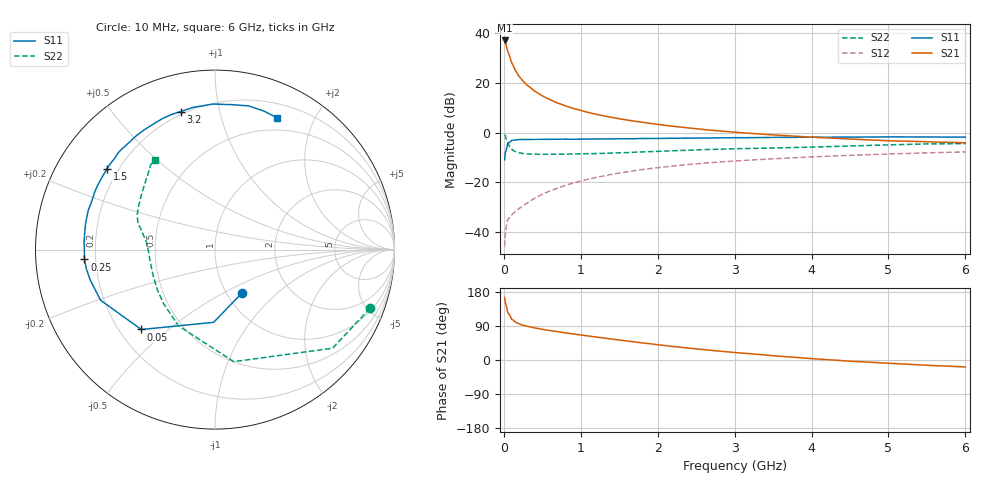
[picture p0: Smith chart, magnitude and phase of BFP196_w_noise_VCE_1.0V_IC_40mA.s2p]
! Infineon Technologies  Discrete & RF Semiconductors
! BFP196
! VCE =  1.0 V,  IC =  40 mA
! Common Emitter S-Parameters:  Jan 2017
# GHz  S  MA  R  50
!  f  S11  S21  S12  S22
! GHz  MAG  ANG  MAG  ANG  MAG  ANG  MAG  ANG
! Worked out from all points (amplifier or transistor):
!   77 points, 10 MHz to 6 GHz, reference 50 ohm
!   highest |S21| = 37.1 dB at 10 MHz (marker M1)
!   |S21| within 3 dB of that: start of sweep to 39.38 MHz
!   unconditionally stable (mu >= 1): 497.6 MHz to 2.739 GHz
!   at 130 MHz: K = 0.60, MSG = 29.4 dB, |S12| = -32.3 dB
!   at 2.2 GHz: K = 1.02, MAG = 7.2 dB, |S12| = -13.4 dB
!   at 6 GHz: K = 0.99, MSG = 1.8 dB, |S12| = -7.7 dB
!   lowest NFmin = 1.34 dB at 450 MHz
!   S11 on the Smith chart (normalised r, x): 10 MHz: 1.18, -0.62; 50 MHz: 0.29, -0.41; 250 MHz: 0.16, -0.04; 1.5 GHz: 0.16, +0.33; 3.2 GHz: 0.18, +0.76; 6 GHz: 0.35, +1.51
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0.01  0.2846 -58.0  71.55 164.7  0.0052 77.8  0.9234 -20.8
0.02  0.4054 -91.1  66.21 151.2  0.0097 70.7  0.855 -40.0
0.05  0.6057 -132.7  44.14 125.3  0.0176 48.5  0.6331 -80.5
0.1  0.697 -156.1  25.8 107.8  0.0219 48.1  0.4707 -115.7
0.15  0.7149 -166.0  17.77 100.2  0.0259 48.5  0.4153 -133.6
0.2  0.7251 -171.5  13.5 95.3  0.0298 52.3  0.3925 -144.7
0.25  0.7295 -175.7  10.85 91.7  0.034 55.3  0.3799 -151.7
0.3  0.7277 -178.7  9.074 89.1  0.0381 58.1  0.3736 -157.2
0.4  0.7308 176.6  6.853 84.6  0.0477 60.6  0.3683 -164.1
0.5  0.7321 172.4  5.49 80.9  0.0573 62.6  0.3665 -168.8
0.6  0.7355 168.8  4.598 77.6  0.0674 63.4  0.368 -172.4
0.7  0.7365 165.9  3.945 74.8  0.0766 63.9  0.3672 -175.3
0.9  0.7372 159.8  3.082 68.8  0.0965 62.9  0.3717 -179.5
1.1  0.7436 154.0  2.548 63.3  0.1164 61.6  0.3773 177.1
1.5  0.7523 143.1  1.903 52.8  0.1535 56.5  0.3933 171.5
2.1  0.7668 127.2  1.402 38.1  0.2049 48.0  0.4261 165.0
2.6  0.7794 115.8  1.157 27.3  0.2432 40.9  0.4556 160.4
3.1  0.7914 105.9  0.995 18.2  0.2743 33.9  0.4774 154.7
3.2  0.7928 104.0  0.97 16.6  0.2801 32.6  0.4805 153.5
4.1  0.8103 89.3  0.797 2.3  0.3295 21.5  0.5168 141.7
5.1  0.8206 75.6  0.68 -9.6  0.3758 9.8  0.5726 130.0
6  0.812 65.0  0.625 -18.4  0.4106 0.0  0.6008 123.7
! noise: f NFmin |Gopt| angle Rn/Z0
0.45  1.34  0.36  177  0.05
0.9  1.49  0.46  -167  0.07
1.9  2.31  0.68  -133  0.28
2.4  2.71  0.7  -120  0.62
